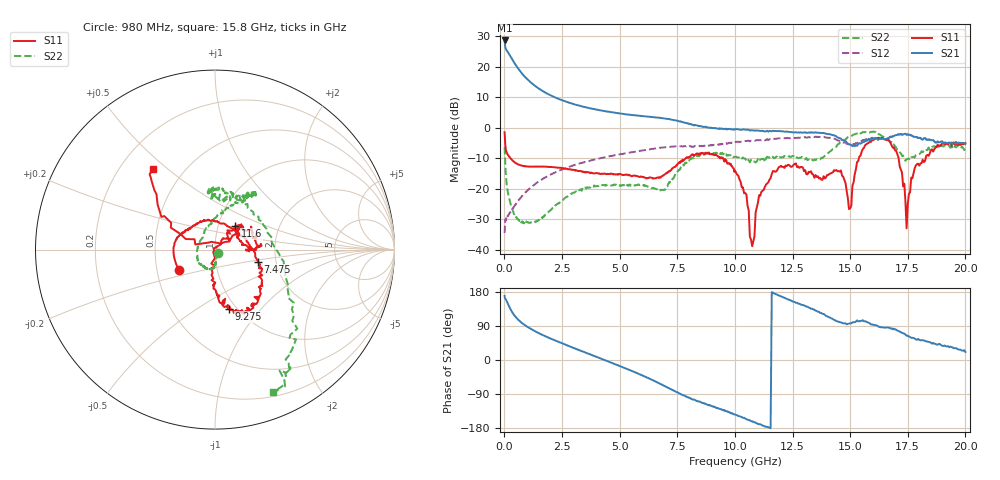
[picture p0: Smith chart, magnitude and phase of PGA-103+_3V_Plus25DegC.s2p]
!Mini-Circuits Laboratory
!S-Parameters, Port extension performed
!Model: PGA-103+
!Run / Lot / Date Code: N/A / BP170-001-01-101EV / 1210
!Fixture: TB-313
!Network Analyzer: PNA-X N5242A - 423 4 ports;  Serial number: 71013
!Date: 5/23/2012 at 10:33:46 AM
!S/N: Unit# 1
!Tested with: VDD=3V AT 25C
# Hz  S  dB  R  50
!Frequency  S11 dB  S11 Deg  S21 dB  S21 Deg  S12 dB  S12 Deg  S22 dB  S22 Deg
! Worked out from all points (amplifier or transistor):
!   660 points, 10 MHz to 20 GHz, reference 50 ohm
!   highest |S21| = 28.7 dB at 10 MHz (marker M1)
!   |S21| within 3 dB of that: start of sweep to 77.77 MHz
!   unconditionally stable (mu >= 1): 174.8 MHz to 15.03 GHz; 16.85 GHz to end of sweep
!   at 1.275 GHz: K = 1.10, MAG = 14.5 dB, |S12| = -18.8 dB
!   at 6.775 GHz: K = 1.04, MAG = 3.7 dB, |S12| = -6.5 dB
!   at 20 GHz: K = 1.26, MAG = -3.1 dB, |S12| = -5.3 dB
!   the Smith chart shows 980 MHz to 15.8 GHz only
!   S11 on the Smith chart (normalised r, x): 980 MHz: 0.65, -0.16; 7.475 GHz: 1.61, -0.23; 9.275 GHz: 0.92, -0.69; 11.6 GHz: 1.21, +0.33; 15.8 GHz: 0.34, +0.45
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1e7  -1.48 -18.1  28.68 168.8  -34.49 59.0  -6.36 -22.5
5e7  -6.42 -37.0  26.21 161.0  -30.04 22.2  -13.65 -57.0
8e7  -7.65 -40.2  25.65 158.2  -29.70 23.6  -17.05 -59.8
2.2e8  -9.55 -65.7  24.00 139.4  -28.01 31.3  -23.53 -58.5
3.9e8  -10.96 -94.6  21.84 121.4  -26.12 41.4  -27.68 -54.7
5e8  -11.61 -109.2  20.52 112.8  -25.00 45.0  -29.27 -46.9
6.3e8  -12.08 -123.4  19.12 104.5  -23.63 48.0  -30.25 -45.3
9.8e8  -12.67 -150.4  16.05 88.1  -20.70 50.6  -30.87 -47.3
1.875e9  -12.77 175.0  11.18 60.0  -15.84 43.9  -27.77 -78.1
3.35e9  -14.33 145.0  7.04 23.4  -11.52 21.1  -20.64 -94.0
6.675e9  -16.36 48.2  3.34 -60.3  -6.64 -50.1  -20.22 173.6
7.475e9  -12.12 -15.6  2.36 -84.8  -6.13 -72.6  -14.57 86.4
9.275e9  -9.36 -76.5  -0.27 -127.4  -5.56 -115.8  -8.69 54.4
1.005e10  -14.70 -89.5  -0.37 -144.8  -4.55 -134.9  -9.46 65.1
1.075e10  -38.82 137.1  -0.84 -161.8  -4.27 -152.7  -10.37 77.6
1.16e10  -15.19 49.3  -1.15 179.0  -3.81 -173.1  -9.77 93.9
1.335e10  -15.11 7.7  -1.57 135.4  -3.05 142.0  -10.49 44.4
1.5e10  -26.39 115.3  -5.54 96.4  -5.40 107.4  -2.88 -54.6
1.58e10  -4.95 127.5  -3.60 98.2  -3.23 99.0  -1.34 -67.7
1.67e10  -4.37 90.0  -3.23 85.1  -3.21 85.2  -4.13 -71.5
1.745e10  -32.96 105.5  -2.23 64.4  -2.24 64.5  -10.27 -19.0
2e10  -4.99 160.7  -5.30 21.4  -5.28 21.2  -6.69 25.2
